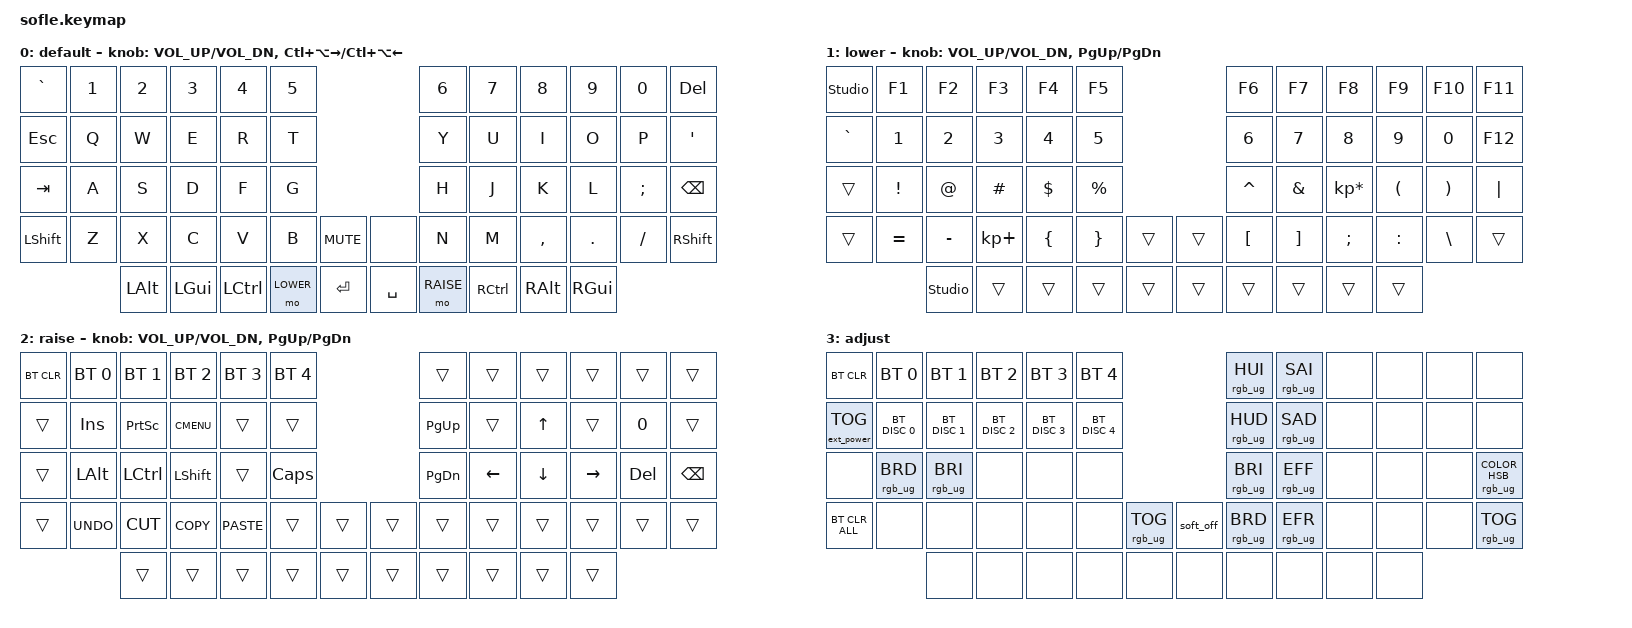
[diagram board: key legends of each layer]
/*
 * Copyright (c) 2020 The ZMK Contributors
 *
 * SPDX-License-Identifier: MIT
 */

#define BASE 0
#define LOWER 1
#define RAISE 2
#define ADJUST 3

#include <dt-bindings/led/led.h>
#include <behaviors.dtsi>
#include <dt-bindings/zmk/bt.h>
#include <dt-bindings/zmk/ext_power.h>
#include <dt-bindings/zmk/keys.h>
#include <dt-bindings/zmk/rgb.h>

&pinctrl {
    spi3_default: spi3_default {
        group1 { psels = <NRF_PSEL(SPIM_MOSI, 0, 6)>; };
    };

    spi3_sleep: spi3_sleep {
        group1 {
            psels = <NRF_PSEL(SPIM_MOSI, 0, 6)>;
            low-power-enable;
        };
    };
};

&spi3 {
    compatible = "nordic,nrf-spim";
    status = "okay";
    pinctrl-0 = <&spi3_default>;
    pinctrl-1 = <&spi3_sleep>;
    pinctrl-names = "default", "sleep";

    led_strip: ws2812@0 {
        compatible = "worldsemi,ws2812-spi";
        label = "WS2812";

        /* SPI */

        reg = <0>; /* ignored, but necessary for SPI bindings */
        spi-max-frequency = <4000000>;

        /* WS2812 */

        chain-length = <1>;
        spi-one-frame = <0x70>;
        spi-zero-frame = <0x40>;
        color-mapping = <LED_COLOR_ID_GREEN LED_COLOR_ID_RED LED_COLOR_ID_BLUE>;
    };
};

/ {
    chosen { zmk,underglow = &led_strip; };
};

/ {
    // Activate ADJUST layer by pressing raise and lower

    conditional_layers {
        compatible = "zmk,conditional-layers";

        adjust_layer {
            if-layers = <LOWER RAISE>;
            then-layer = <ADJUST>;
        };
    };

    keymap {
        compatible = "zmk,keymap";

        default_layer {
            label = "default";

            // ------------------------------------------------------------------------------------------------------------
            // |   `   |  1  |  2  |  3   |  4   |  5   |                   |  6   |  7    |  8    |  9   |   0   |       |
            // |  ESC  |  Q  |  W  |  E   |  R   |  T   |                   |  Y   |  U    |  I    |  O   |   P   | BKSPC |
            // |  TAB  |  A  |  S  |  D   |  F   |  G   |                   |  H   |  J    |  K    |  L   |   ;   |   '   |
            // | SHIFT |  Z  |  X  |  C   |  V   |  B   |  MUTE  |  |       |  N   |  M    |  ,    |  .   |   /   | SHIFT |
            //               | GUI | ALT  | CTRL | LOWER|  ENTER |  | SPACE | RAISE| CTRL  | ALT   | GUI  |

            bindings = <
&kp GRAVE  &kp N1  &kp N2        &kp N3        &kp N4     &kp N5                              &kp N6     &kp N7     &kp N8     &kp N9    &kp N0    &kp DELETE
&kp ESC    &kp Q   &kp W         &kp E         &kp R      &kp T                               &kp Y      &kp U      &kp I      &kp O     &kp P     &kp SQT
&kp TAB    &kp A   &kp S         &kp D         &kp F      &kp G                               &kp H      &kp J      &kp K      &kp L     &kp SEMI  &kp BACKSPACE
&kp LSHFT  &kp Z   &kp X         &kp C         &kp V      &kp B      &kp C_MUTE    &none      &kp N      &kp M      &kp COMMA  &kp DOT   &kp FSLH  &kp RSHFT
                   &kp LEFT_ALT  &kp LEFT_GUI  &kp LCTRL  &mo LOWER  &kp RET       &kp SPACE  &mo RAISE  &kp RCTRL  &kp RALT   &kp RGUI
            >;

            sensor-bindings =
                <&inc_dec_kp C_VOL_UP C_VOL_DN>,
                <&inc_dec_kp LC(LA(RIGHT)) LC(LA(LEFT))>;
        };

        lower_layer {
            label = "lower";

            // TODO: Some binds are waiting for shifted keycode support.
            // ------------------------------------------------------------------------------------------------------------
            // |       |  F1 |  F2 |  F3  |  F4  |  F5  |                   |  F6  |  F7   |  F8   |  F9  |  F10  |  F11  |
            // |   `   |  1  |  2  |  3   |  4   |  5   |                   |  6   |  7    |  8    |  9   |   0   |  F12  |
            // |       |  !  |  @  |  #   |  $   |  %   |                   |  ^   |  &    |  *    |  (   |   )   |   |   |
            // |       |  =  |  -  |  +   |  {   |  }   |        |  |       |  [   |  ]    |  ;    |  :   |   \   |       |
            //               |     |      |      |      |        |  |       |      |       |       |      |

            bindings = <
&studio_unlock  &kp F1     &kp F2          &kp F3       &kp F4    &kp F5                       &kp F6     &kp F7    &kp F8           &kp F9     &kp F10   &kp F11
&kp GRAVE       &kp N1     &kp N2          &kp N3       &kp N4    &kp N5                       &kp N6     &kp N7    &kp N8           &kp N9     &kp N0    &kp F12
&trans          &kp EXCL   &kp AT          &kp HASH     &kp DLLR  &kp PRCNT                    &kp CARET  &kp AMPS  &kp KP_MULTIPLY  &kp LPAR   &kp RPAR  &kp PIPE
&trans          &kp EQUAL  &kp MINUS       &kp KP_PLUS  &kp LBRC  &kp RBRC   &trans    &trans  &kp LBKT   &kp RBKT  &kp SEMI         &kp COLON  &kp BSLH  &trans
                           &studio_unlock  &trans       &trans    &trans     &trans    &trans  &trans     &trans    &trans           &trans
            >;

            sensor-bindings = <&inc_dec_kp C_VOL_UP C_VOL_DN &inc_dec_kp PG_UP PG_DN>;
        };

        raise_layer {
            label = "raise";

            // ------------------------------------------------------------------------------------------------------------
            // | BTCLR | BT1  | BT2  |  BT3  |  BT4  |  BT5 |                |      |      |       |      |       |       |
            // |       | INS  | PSCR | GUI   |       |      |                | PGUP |      |   ^   |      |       |       |
            // |       | ALT  | CTRL | SHIFT |       | CAPS |                | PGDN |   <- |   v   |  ->  |  DEL  | BKSPC |
            // |       | UNDO | CUT  | COPY  | PASTE |      |      |  |      |      |      |       |      |       |       |
            //                |      |       |       |      |      |  |      |      |      |       |      |

            bindings = <
&bt BT_CLR  &bt BT_SEL 0  &bt BT_SEL 1  &bt BT_SEL 2  &bt BT_SEL 3  &bt BT_SEL 4                    &trans     &trans    &trans    &trans     &trans   &trans
&trans      &kp INS       &kp PSCRN     &kp K_CMENU   &trans        &trans                          &kp PG_UP  &trans    &kp UP    &trans     &kp N0   &trans
&trans      &kp LALT      &kp LCTRL     &kp LSHFT     &trans        &kp CLCK                        &kp PG_DN  &kp LEFT  &kp DOWN  &kp RIGHT  &kp DEL  &kp BSPC
&trans      &kp K_UNDO    &kp K_CUT     &kp K_COPY    &kp K_PASTE   &trans        &trans    &trans  &trans     &trans    &trans    &trans     &trans   &trans
                          &trans        &trans        &trans        &trans        &trans    &trans  &trans     &trans    &trans    &trans
            >;

            sensor-bindings = <&inc_dec_kp C_VOL_UP C_VOL_DN &inc_dec_kp PG_UP PG_DN>;
        };

        adjust_layer {
            // ----------------------------------------------------------------------------------------------------------------------------
            // | BTCLR  |  BT1    |  BT2    |   BT3   |   BT4   |   BT5   |                  |      |      |       |      |       |       |
            // | EXTPWR | RGB_HUD | RGB_HUI | RGB_SAD | RGB_SAI | RGB_EFF |                  |      |      |       |      |       |       |
            // |        | RGB_BRD | RGB_BRI |         |         |         |                  |      |      |       |      |       |       |
            // |        |         |         |         |         |         | RGB_TOG | |      |      |      |       |      |       |       |
            //                    |         |         |         |         |         | |      |      |      |       |      |

            label = "adjust";
            bindings = <
&bt BT_CLR         &bt BT_SEL 0     &bt BT_SEL 1     &bt BT_SEL 2   &bt BT_SEL 3   &bt BT_SEL 4                                 &rgb_ug RGB_HUI  &rgb_ug RGB_SAI  &none  &none  &none  &none
&ext_power EP_TOG  &bt BT_DISC 0    &bt BT_DISC 1    &bt BT_DISC 2  &bt BT_DISC 3  &bt BT_DISC 4                                &rgb_ug RGB_HUD  &rgb_ug RGB_SAD  &none  &none  &none  &none
&none              &rgb_ug RGB_BRD  &rgb_ug RGB_BRI  &none          &none          &none                                        &rgb_ug RGB_BRI  &rgb_ug RGB_EFF  &none  &none  &none  &rgb_ug RGB_COLOR_HSB(34,67,46)
&bt BT_CLR_ALL     &none            &none            &none          &none          &none          &rgb_ug RGB_TOG    &soft_off  &rgb_ug RGB_BRD  &rgb_ug RGB_EFR  &none  &none  &none  &rgb_ug RGB_TOG
                                    &none            &none          &none          &none          &none              &none      &none            &none            &none  &none
            >;
        };
    };
};
